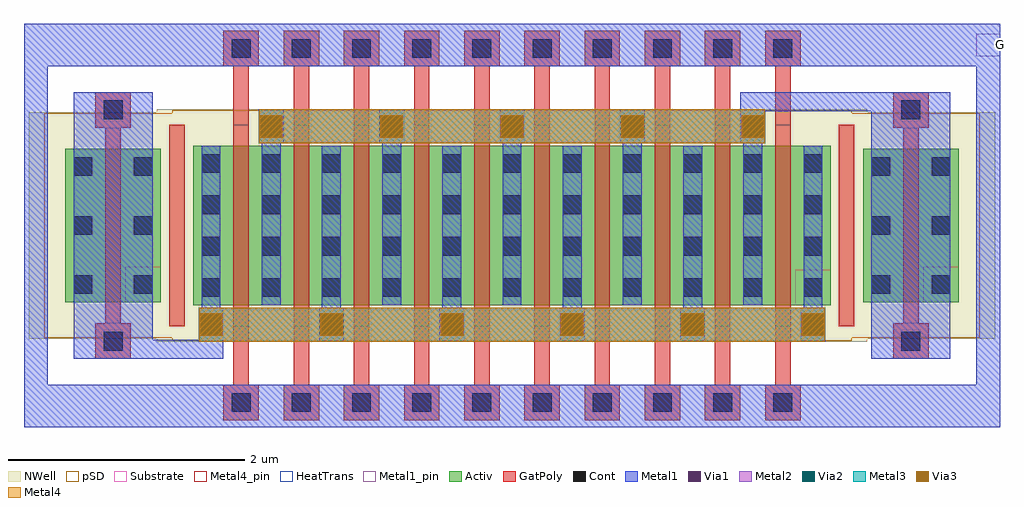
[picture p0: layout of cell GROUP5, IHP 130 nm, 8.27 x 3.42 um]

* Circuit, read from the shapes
.subckt GROUP5 G
XM1 pmos_priv1_0/D pmos_priv1_0/D pmos_priv1_0/D n1 sg13_lv_pmos w=1.3u l=0.13u
XM2 pmos_priv1_0/S G pmos_priv1_0/D n1 sg13_lv_pmos w=1.35u l=0.13u m=10
XM3 pmos_priv1_0/S pmos_priv1_0/S pmos_priv1_0/S n1 sg13_lv_pmos w=1.3u l=0.13u
.ends

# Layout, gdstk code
import gdstk
lib = gdstk.Library(unit=1e-6, precision=1e-09)
def R(c, l, rs):  # rectangles x0, y0, x1, y1
    for r in rs: c.add(gdstk.rectangle(r[:2], r[2:], *l))
def A(c, l, x, y, w, h, nx, ny, dx, dy):  # array of equal rectangles
    R(c, l, [(x+i*dx, y+j*dy, x+i*dx+w, y+j*dy+h) for i in range(nx) for j in range(ny)])
Activ = (1, 0)
GatPoly = (5, 0)
Cont = (6, 0)
Metal1 = (8, 0)
Metal1_pin = (8, 2)
Metal2 = (10, 0)
pSD = (14, 0)
Via1 = (19, 0)
Via2 = (29, 0)
Metal3 = (30, 0)
NWell = (31, 0)
Substrate = (40, 0)
Via3 = (49, 0)
Metal4 = (50, 0)
Metal4_pin = (50, 2)
HeatTrans = (51, 0)

pmos_priv1 = lib.new_cell('pmos_priv1')
A(pmos_priv1, Activ, 0, 0, 0.3, 0.3, 11, 1, 0.51, 0)
R(pmos_priv1, Activ, [(0,0,5.4,1.35)])
A(pmos_priv1, GatPoly, 0.255, -0.975, 0.3, 0.3, 10, 2, 0.51, 3)
A(pmos_priv1, GatPoly, 0.34, -0.675, 0.13, 0.495, 10, 2, 0.51, 2.205)
A(pmos_priv1, GatPoly, 0.34, -0.18, 0.13, 1.71, 10, 1, 0.51, 0)
R(pmos_priv1, GatPoly, [(0.34,-0.18,0.47,1.53)])
A(pmos_priv1, Cont, 0.325, -0.905, 0.16, 0.16, 10, 2, 0.51, 3)
A(pmos_priv1, Cont, 0.07, 0.07, 0.16, 0.16, 11, 4, 0.51, 0.35)
A(pmos_priv1, Metal1, 0.27, -1.035, 0.27, 0.36, 10, 2, 0.51, 3.06)
A(pmos_priv1, Metal1, 0.045, -0.31, 0.21, 0.29, 6, 1, 1.02, 0)
A(pmos_priv1, Metal1, 0.07, -0.035, 0.16, 0.05, 6, 1, 1.02, 0)
A(pmos_priv1, Metal1, 0.58, 0, 0.16, 1.35, 10, 1, 0.51, 0)
A(pmos_priv1, Metal1, 0.58, 1.335, 0.16, 0.05, 5, 1, 1.02, 0)
A(pmos_priv1, Metal1, 0.555, 1.37, 0.21, 0.29, 5, 1, 1.02, 0)
R(pmos_priv1, Metal1, [(0.07,0,0.23,1.35), (0.07,0,0.23,1.35), (0.58,0,0.74,1.35)])
A(pmos_priv1, Metal2, 0.05, -0.31, 0.2, 0.29, 6, 1, 1.02, 0)
A(pmos_priv1, Metal2, 0.56, 1.37, 0.2, 0.29, 5, 1, 1.02, 0)
R(pmos_priv1, Metal2, [(0.05,-0.31,5.35,-0.02), (0.56,1.37,4.84,1.66)])
R(pmos_priv1, pSD, [(-0.18,-0.3,5.58,1.65)])
A(pmos_priv1, Via1, 0.055, -0.26, 0.19, 0.19, 6, 1, 1.02, 0)
A(pmos_priv1, Via1, 0.565, 1.42, 0.19, 0.19, 5, 1, 1.02, 0)
A(pmos_priv1, Via2, 0.055, -0.26, 0.19, 0.19, 6, 1, 1.02, 0)
A(pmos_priv1, Via2, 0.565, 1.42, 0.19, 0.19, 5, 1, 1.02, 0)
A(pmos_priv1, Metal3, 0.05, -0.31, 0.2, 0.29, 6, 1, 1.02, 0)
A(pmos_priv1, Metal3, 0.56, 1.37, 0.2, 0.29, 5, 1, 1.02, 0)
R(pmos_priv1, Metal3, [(0.05,-0.31,5.35,-0.02), (0.56,1.37,4.84,1.66)])
R(pmos_priv1, NWell, [(-0.31,-0.31,5.71,1.66)])
R(pmos_priv1, Substrate, [(5.1,0,5.4,0.3)])
A(pmos_priv1, Via3, 0.055, -0.26, 0.19, 0.19, 6, 1, 1.02, 0)
A(pmos_priv1, Via3, 0.565, 1.42, 0.19, 0.19, 5, 1, 1.02, 0)
A(pmos_priv1, Metal4, 0.05, -0.31, 0.2, 0.29, 6, 1, 1.02, 0)
A(pmos_priv1, Metal4, 0.56, 1.37, 0.2, 0.29, 5, 1, 1.02, 0)
R(pmos_priv1, Metal4, [(0.05,-0.31,5.35,-0.02), (0.56,1.37,4.84,1.66)])
R(pmos_priv1, Metal4_pin, [(5.155,-0.26,5.345,-0.07), (4.645,1.42,4.835,1.61)])
A(pmos_priv1, HeatTrans, 0.34, -0.18, 0.13, 1.71, 10, 1, 0.51, 0)
pmos_priv1.add(gdstk.Label('pmos', (0.405,0.675), layer=63, texttype=0))
pmos_priv1.add(gdstk.Label('pmos', (0.405,0.675), layer=51, texttype=0))
pmos_priv1.add(gdstk.Label('pmos', (0.915,0.675), layer=51, texttype=0))
pmos_priv1.add(gdstk.Label('pmos', (1.425,0.675), layer=51, texttype=0))
pmos_priv1.add(gdstk.Label('pmos', (1.935,0.675), layer=51, texttype=0))
pmos_priv1.add(gdstk.Label('pmos', (2.445,0.675), layer=51, texttype=0))
pmos_priv1.add(gdstk.Label('pmos', (2.955,0.675), layer=51, texttype=0))
pmos_priv1.add(gdstk.Label('pmos', (3.465,0.675), layer=51, texttype=0))
pmos_priv1.add(gdstk.Label('pmos', (3.975,0.675), layer=51, texttype=0))
pmos_priv1.add(gdstk.Label('pmos', (4.485,0.675), layer=51, texttype=0))
pmos_priv1.add(gdstk.Label('pmos', (4.995,0.675), layer=51, texttype=0))
pmos_priv1.add(gdstk.Label('S', (4.74,1.515), layer=50, texttype=0))
pmos_priv1.add(gdstk.Label('D', (5.25,-0.165), layer=50, texttype=0))

pmos_3_priv1 = lib.new_cell('pmos$3_priv1')
R(pmos_3_priv1, Activ, [(0,0,0.3,0.3), (0,0,0.81,1.3), (0.51,0,0.81,0.3)])
R(pmos_3_priv1, GatPoly, [(0.255,-0.48,0.555,-0.18), (0.34,-0.18,0.47,1.48), (0.34,-0.18,0.47,1.48), (0.255,1.48,0.555,1.78)])
A(pmos_3_priv1, Cont, 0.07, 0.07, 0.16, 0.16, 1, 3, 0, 0.5)
A(pmos_3_priv1, Cont, 0.58, 0.07, 0.16, 0.16, 1, 3, 0, 0.5)
R(pmos_3_priv1, Cont, [(0.325,-0.41,0.485,-0.25), (0.325,1.55,0.485,1.71)])
R(pmos_3_priv1, Metal1, [(0.07,-0.48,0.74,1.78), (0.07,0,0.23,1.3), (0.07,0,0.23,1.3), (0.58,0,0.74,1.3), (0.58,0,0.74,1.3)])
R(pmos_3_priv1, pSD, [(-0.18,-0.3,0.99,1.6)])
R(pmos_3_priv1, NWell, [(-0.31,-0.31,1.12,1.61)])
R(pmos_3_priv1, Substrate, [(0.51,0,0.81,0.3)])
R(pmos_3_priv1, HeatTrans, [(0.34,-0.18,0.47,1.48)])
pmos_3_priv1.add(gdstk.Label('pmos', (0.405,0.65), layer=63, texttype=0))
pmos_3_priv1.add(gdstk.Label('pmos', (0.405,0.65), layer=51, texttype=0))

pmos_3_priv2 = lib.new_cell('pmos$3_priv2')
R(pmos_3_priv2, Activ, [(0,0,0.3,0.3), (0,0,0.81,1.3), (0.51,0,0.81,0.3)])
R(pmos_3_priv2, GatPoly, [(0.255,-0.48,0.555,-0.18), (0.34,-0.18,0.47,1.48), (0.34,-0.18,0.47,1.48), (0.255,1.48,0.555,1.78)])
A(pmos_3_priv2, Cont, 0.07, 0.07, 0.16, 0.16, 1, 3, 0, 0.5)
A(pmos_3_priv2, Cont, 0.58, 0.07, 0.16, 0.16, 1, 3, 0, 0.5)
R(pmos_3_priv2, Cont, [(0.325,-0.41,0.485,-0.25), (0.325,1.55,0.485,1.71)])
R(pmos_3_priv2, Metal1, [(0.07,-0.48,0.74,1.78), (0.07,0,0.23,1.3), (0.07,0,0.23,1.3), (0.58,0,0.74,1.3), (0.58,0,0.74,1.3)])
R(pmos_3_priv2, pSD, [(-0.18,-0.3,0.99,1.6)])
R(pmos_3_priv2, NWell, [(-0.31,-0.31,1.12,1.61)])
R(pmos_3_priv2, Substrate, [(0.51,0,0.81,0.3)])
R(pmos_3_priv2, HeatTrans, [(0.34,-0.18,0.47,1.48)])
pmos_3_priv2.add(gdstk.Label('pmos', (0.405,0.65), layer=63, texttype=0))
pmos_3_priv2.add(gdstk.Label('pmos', (0.405,0.65), layer=51, texttype=0))

group5 = lib.new_cell('GROUP5')
R(group5, GatPoly, [(107.105,145.92,107.235,147.63), (112.78,145.92,112.91,147.63)])
R(group5, Metal1, [(105.875,145.065,114.145,145.425), (105.875,145.065,106.075,148.485), (113.945,145.065,114.145,148.485), (106.965,145.645,107.565,145.805), (111.945,147.745,113.055,147.905), (105.875,148.125,114.145,148.485)])
R(group5, Metal1_pin, [(113.945,148.21,114.145,148.4)])
group5.add(gdstk.Reference(pmos_priv1, (107.31,146.1)))
group5.add(gdstk.Reference(pmos_3_priv1, (112.985,146.125)))
group5.add(gdstk.Reference(pmos_3_priv2, (106.225,146.125)))
group5.add(gdstk.Label('G', (114.145,148.305), layer=8, texttype=0))

lib.write_gds('GROUP5.gds')
